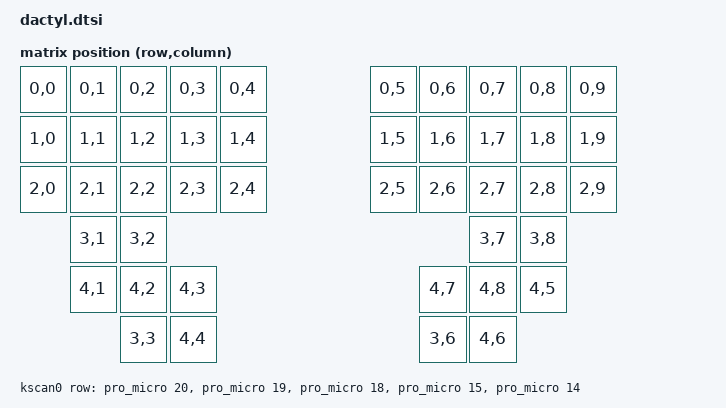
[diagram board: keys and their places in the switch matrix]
#include <dt-bindings/zmk/matrix_transform.h>

/ {
    chosen {
        zmk,kscan = &kscan0;
        zmk,physical-layout = &physical_layout0;
        zephyr,display = &oled;
    };

    physical_layout0: physical_layout_0 {
        compatible = "zmk,physical-layout";
        display-name = "Default Layout";
        kscan = <&kscan0>;
        transform = <&default_transform>;
    };

    default_transform: keymap_transform_0 {
        compatible = "zmk,matrix-transform";
        columns = <10>;
        rows = <5>;
// Left side (22 keys):                    Right side (22 keys):
// Row 0: Q W E R T                        Y U I O P
// Row 1: A S D F G                        H J K L ;
// Row 2: Z X C V B                        N M , . /
// Row 3: x x T1 T2 T3                     T1 T2 T3 x x
// Row 4: x T4 T5 T6 T7                    T4 T5 T6 T7 x

        map = <
RC(0,0) RC(0,1) RC(0,2) RC(0,3) RC(0,4)                 RC(0,5) RC(0,6) RC(0,7) RC(0,8) RC(0,9)
RC(1,0) RC(1,1) RC(1,2) RC(1,3) RC(1,4)                 RC(1,5) RC(1,6) RC(1,7) RC(1,8) RC(1,9)
RC(2,0) RC(2,1) RC(2,2) RC(2,3) RC(2,4)                 RC(2,5) RC(2,6) RC(2,7) RC(2,8) RC(2,9)
        RC(3,1) RC(3,2)                                                 RC(3,7) RC(3,8)
        RC(4,1) RC(4,2) RC(4,3)                                 RC(4,7) RC(4,8) RC(4,5)
                RC(3,3) RC(4,4)                                 RC(3,6) RC(4,6)
        >;
    };

    kscan0: kscan {
        compatible = "zmk,kscan-gpio-matrix";
        wakeup-source;

        diode-direction = "col2row";
        row-gpios
            = <&pro_micro 20 (GPIO_ACTIVE_HIGH | GPIO_PULL_DOWN)>
            , <&pro_micro 19 (GPIO_ACTIVE_HIGH | GPIO_PULL_DOWN)>
            , <&pro_micro 18 (GPIO_ACTIVE_HIGH | GPIO_PULL_DOWN)>
            , <&pro_micro 15 (GPIO_ACTIVE_HIGH | GPIO_PULL_DOWN)>
            , <&pro_micro 14 (GPIO_ACTIVE_HIGH | GPIO_PULL_DOWN)>
            ;
    };
};

&pro_micro_i2c {
    status = "okay";

    oled: ssd1306@3c {
        compatible = "solomon,ssd1306fb";
        reg = <0x3c>;
        width = <128>;
        height = <32>;
        segment-offset = <0>;
        page-offset = <0>;
        display-offset = <0>;
        multiplex-ratio = <31>;
        com-sequential;
        inversion-on;
        prechargep = <0x22>;
    };
};
